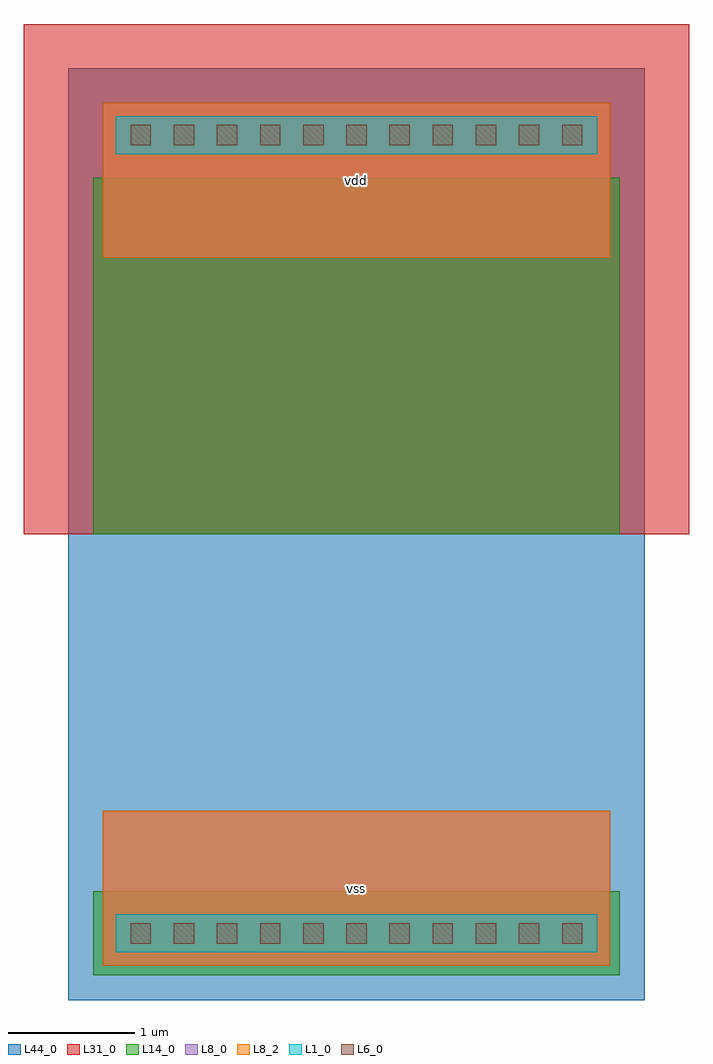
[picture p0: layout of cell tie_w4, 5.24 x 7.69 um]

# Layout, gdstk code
import gdstk
lib = gdstk.Library(unit=1e-6, precision=1e-09)
def R(c, l, rs):  # rectangles x0, y0, x1, y1
    for r in rs: c.add(gdstk.rectangle(r[:2], r[2:], *l))
def A(c, l, x, y, w, h, nx, ny, dx, dy):  # array of equal rectangles
    R(c, l, [(x+i*dx, y+j*dy, x+i*dx+w, y+j*dy+h) for i in range(nx) for j in range(ny)])
L1_0 = (1, 0)
L6_0 = (6, 0)
L8_0 = (8, 0)
L8_2 = (8, 2)
L14_0 = (14, 0)
L31_0 = (31, 0)
L44_0 = (44, 0)

tie_w4 = lib.new_cell('tie_w4')
R(tie_w4, L1_0, [(0.105,0.105,3.895,0.405), (0.105,6.395,3.895,6.695)])
A(tie_w4, L6_0, 0.22, 0.175, 0.16, 0.16, 11, 2, 0.34, 6.29)
R(tie_w4, L8_0, [(0,0,4,1.22), (0,5.58,4,6.8)])
R(tie_w4, L8_2, [(0,0,4,1.22), (0,5.58,4,6.8)])
R(tie_w4, L14_0, [(-0.075,-0.075,4.075,0.585), (-0.075,3.4,4.075,6.21)])
R(tie_w4, L31_0, [(-0.62,3.4,4.62,7.42)])
R(tie_w4, L44_0, [(-0.27,-0.27,4.27,7.07)])
tie_w4.add(gdstk.Label('vdd', (2,6.19), layer=8, texttype=2))
tie_w4.add(gdstk.Label('vss', (2,0.61), layer=8, texttype=2))

lib.write_gds('tie_w4.gds')
